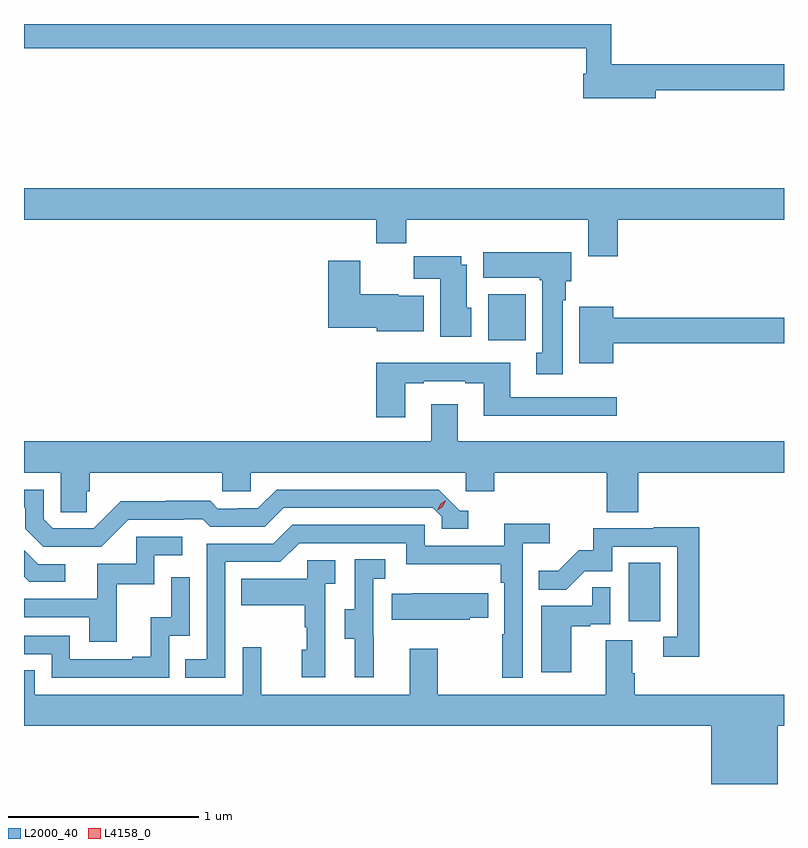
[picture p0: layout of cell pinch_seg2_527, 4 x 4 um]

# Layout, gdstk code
import gdstk
lib = gdstk.Library(unit=1e-6, precision=1e-09)
def R(c, l, rs):  # rectangles x0, y0, x1, y1
    for r in rs: c.add(gdstk.rectangle(r[:2], r[2:], *l))
def P(c, l, *ps):  # polygons
    for p in ps: c.add(gdstk.Polygon(p, *l))
L2000_40 = (2000, 40)
L4158_0 = (4158, 0)

pinch_seg2_527 = lib.new_cell('pinch_seg2_527')
R(pinch_seg2_527, L2000_40, [(1122.848,617.55,1123.012,617.857), (1122.107,619.028,1122.304,619.27)])
P(pinch_seg2_527, L2000_40, [(1122.988,620.344),(1123.664,620.344),(1123.664,620.48),(1122.755,620.48),(1122.755,620.693),(1119.664,620.693),(1119.664,620.566),(1122.623,620.566),(1122.623,620.431),(1122.608,620.431),(1122.608,620.302),(1122.988,620.302)],
  [(1122.788,619.664),(1123.664,619.664),(1123.664,619.828),(1119.664,619.828),(1119.664,619.664),(1121.519,619.664),(1121.519,619.54),(1121.675,619.54),(1121.675,619.664),(1122.635,619.664),(1122.635,619.47),(1122.788,619.47)],
  [(1122.499,619.238),(1122.514,619.238),(1122.514,619.338),(1122.544,619.338),(1122.544,619.492),(1122.08,619.492),(1122.08,619.358),(1122.379,619.358),(1122.379,619.345),(1122.392,619.345),(1122.392,618.962),(1122.359,618.962),(1122.359,618.849),(1122.499,618.849)],
  [(1122.019,619.2),(1121.995,619.2),(1121.995,619.426),(1121.965,619.426),(1121.965,619.471),(1121.716,619.471),(1121.716,619.352),(1121.855,619.352),(1121.855,619.046),(1122.019,619.046)],
  [(1121.767,619.264),(1121.634,619.264),(1121.634,619.27),(1121.434,619.27),(1121.434,619.447),(1121.264,619.447),(1121.264,619.094),(1121.52,619.094),(1121.52,619.076),(1121.767,619.076)],
  [(1122.766,619.012),(1123.664,619.012),(1123.664,619.148),(1122.766,619.148),(1122.766,619.204),(1122.587,619.204),(1122.587,618.908),(1122.766,618.908)],
  [(1121.671,618.801),(1121.767,618.801),(1121.767,618.813),(1121.987,618.813),(1121.987,618.801),(1122.083,618.801),(1122.083,618.632),(1122.784,618.632),(1122.784,618.729),(1122.223,618.729),(1122.223,618.91),(1121.519,618.91),(1121.519,618.624),(1121.671,618.624)],
  [(1119.995,618.234),(1120.01,618.234),(1120.01,618.332),(1120.707,618.332),(1120.707,618.234),(1120.857,618.234),(1120.857,618.332),(1121.988,618.332),(1121.988,618.234),(1122.14,618.234),(1122.14,618.332),(1122.731,618.332),(1122.731,618.124),(1122.896,618.124),(1122.896,618.332),(1123.664,618.332),(1123.664,618.496),(1121.947,618.496),(1121.947,618.691),(1121.807,618.691),(1121.807,618.496),(1119.664,618.496),(1119.664,618.332),(1119.858,618.332),(1119.858,618.124),(1119.995,618.124)],
  [(1120.212,618.084),(1120.505,618.084),(1120.505,618.087),(1120.604,618.087),(1120.643,618.048),(1120.932,618.048),(1121.031,618.147),(1121.814,618.147),(1121.862,618.099),(1121.862,618.036),(1122.001,618.036),(1122.001,618.132),(1121.958,618.132),(1121.847,618.243),(1120.994,618.243),(1120.895,618.144),(1120.788,618.144),(1120.788,618.141),(1120.685,618.141),(1120.643,618.184),(1120.41,618.184),(1120.41,618.181),(1120.174,618.181),(1120.032,618.039),(1119.816,618.039),(1119.768,618.087),(1119.768,618.243),(1119.664,618.243),(1119.664,618.147),(1119.671,618.147),(1119.671,618.037),(1119.765,617.943),(1120.071,617.943)],
  [(1120.722,617.862),(1121.013,617.862),(1121.112,617.961),(1121.676,617.961),(1121.676,617.849),(1122.172,617.849),(1122.172,617.753),(1122.192,617.753),(1122.192,617.48),(1122.18,617.48),(1122.18,617.253),(1122.288,617.253),(1122.288,617.96),(1122.43,617.96),(1122.43,618.062),(1122.191,618.062),(1122.191,617.946),(1121.772,617.946),(1121.772,618.057),(1121.075,618.057),(1120.976,617.958),(1120.626,617.958),(1120.626,617.349),(1120.513,617.349),(1120.513,617.253),(1120.722,617.253)],
  [(1123.217,618.044),(1122.979,618.044),(1122.979,618.039),(1122.661,618.039),(1122.661,617.922),(1122.584,617.922),(1122.477,617.815),(1122.373,617.815),(1122.373,617.716),(1122.517,617.716),(1122.615,617.814),(1122.759,617.814),(1122.759,617.943),(1123.101,617.943),(1123.101,617.469),(1123.029,617.469),(1123.029,617.364),(1123.217,617.364)],
  [(1120.151,617.745),(1120.35,617.745),(1120.35,617.898),(1120.498,617.898),(1120.498,617.994),(1120.254,617.994),(1120.254,617.853),(1120.049,617.853),(1120.049,617.667),(1119.664,617.667),(1119.664,617.571),(1120.007,617.571),(1120.007,617.442),(1120.151,617.442)],
  [(1119.88,617.85),(1119.738,617.85),(1119.664,617.924),(1119.664,617.785),(1119.692,617.757),(1119.88,617.757)],
  [(1121.504,617.469),(1121.502,617.469),(1121.502,617.773),(1121.566,617.773),(1121.566,617.876),(1121.406,617.876),(1121.406,617.613),(1121.351,617.613),(1121.351,617.458),(1121.405,617.458),(1121.405,617.256),(1121.504,617.256)],
  [(1121.25,617.747),(1121.302,617.747),(1121.302,617.871),(1121.154,617.871),(1121.154,617.773),(1120.807,617.773),(1120.807,617.633),(1121.142,617.633),(1121.142,617.519),(1121.152,617.519),(1121.152,617.4),(1121.126,617.4),(1121.126,617.256),(1121.25,617.256)],
  [(1120.428,617.472),(1120.536,617.472),(1120.536,617.782),(1120.44,617.782),(1120.44,617.57),(1120.331,617.57),(1120.331,617.362),(1120.235,617.362),(1120.235,617.349),(1119.906,617.349),(1119.906,617.472),(1119.664,617.472),(1119.664,617.376),(1119.81,617.376),(1119.81,617.253),(1120.428,617.253)],
  [(1122.544,617.523),(1122.644,617.523),(1122.644,617.535),(1122.75,617.535),(1122.75,617.729),(1122.655,617.729),(1122.655,617.631),(1122.386,617.631),(1122.386,617.28),(1122.544,617.28)],
  [(1122.009,617.569),(1122.107,617.569),(1122.107,617.698),(1121.707,617.698),(1121.707,617.695),(1121.599,617.695),(1121.599,617.558),(1122.009,617.558)],
  [(1123.63,617),(1123.664,617),(1123.664,617.164),(1122.878,617.164),(1122.878,617.276),(1122.865,617.276),(1122.865,617.45),(1122.725,617.45),(1122.725,617.164),(1121.841,617.164),(1121.841,617.404),(1121.693,617.404),(1121.693,617.164),(1120.913,617.164),(1120.913,617.413),(1120.815,617.413),(1120.815,617.164),(1119.72,617.164),(1119.72,617.291),(1119.664,617.291),(1119.664,617),(1123.28,617),(1123.28,616.693),(1123.63,616.693)])
P(pinch_seg2_527, L4158_0, [(1121.838,618.133),(1121.838,618.134),(1121.854,618.166),(1121.884,618.186),(1121.884,618.186),(1121.884,618.185),(1121.869,618.153),(1121.838,618.133)])

lib.write_gds('pinch_seg2_527.gds')
